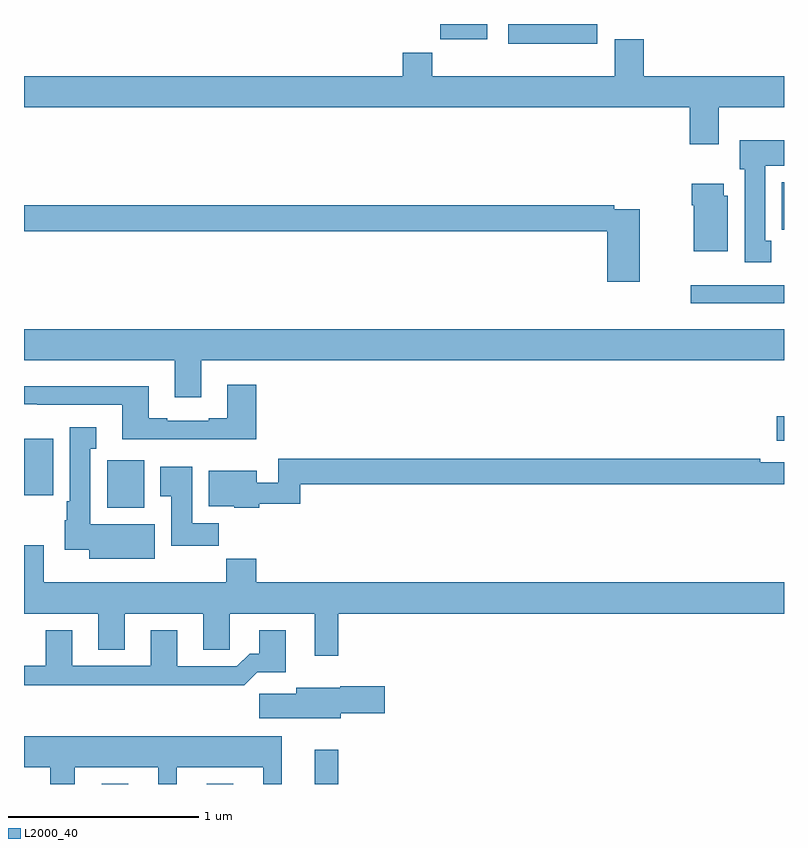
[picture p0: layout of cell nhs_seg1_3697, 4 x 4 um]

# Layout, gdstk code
import gdstk
lib = gdstk.Library(unit=1e-6, precision=1e-09)
def R(c, l, rs):  # rectangles x0, y0, x1, y1
    for r in rs: c.add(gdstk.rectangle(r[:2], r[2:], *l))
def P(c, l, *ps):  # polygons
    for p in ps: c.add(gdstk.Polygon(p, *l))
L2000_40 = (2000, 40)

nhs_seg1_3697 = lib.new_cell('nhs_seg1_3697')
R(nhs_seg1_3697, L2000_40, [(313.409,520.199,313.549,520.201), (313.961,520.199,314.101,520.201), (314.531,520.199,314.653,520.378), (313.437,521.654,313.633,521.904), (313,521.72,313.153,522.016), (316.962,522.005,317,522.135), (316.509,522.728,317,522.825), (316.989,523.116,317,523.366), (315.549,524.096,316.018,524.199), (315.19,524.118,315.439,524.199)])
P(nhs_seg1_3697, L2000_40, [(316.505,523.566),(316.657,523.566),(316.657,523.76),(317,523.76),(317,523.924),(316.262,523.924),(316.262,524.119),(316.109,524.119),(316.109,523.924),(315.149,523.924),(315.149,524.048),(314.993,524.048),(314.993,523.924),(313,523.924),(313,523.76),(316.505,523.76)],
  [(316.933,523.057),(316.9,523.057),(316.9,523.454),(317,523.454),(317,523.588),(316.766,523.588),(316.766,523.434),(316.793,523.434),(316.793,522.945),(316.933,522.945)],
  [(316.705,523.296),(316.684,523.296),(316.684,523.357),(316.514,523.357),(316.514,523.244),(316.526,523.244),(316.526,523.004),(316.705,523.004)],
  [(316.24,523.224),(316.106,523.224),(316.106,523.244),(313,523.244),(313,523.108),(316.07,523.108),(316.07,522.843),(316.24,522.843)],
  [(313.933,522.428),(317,522.428),(317,522.592),(313,522.592),(313,522.428),(313.793,522.428),(313.793,522.234),(313.933,522.234)],
  [(314.222,522.301),(314.069,522.301),(314.069,522.124),(313.973,522.124),(313.973,522.111),(313.753,522.111),(313.753,522.124),(313.657,522.124),(313.657,522.292),(313,522.292),(313,522.197),(313.069,522.197),(313.069,522.195),(313.517,522.195),(313.517,522.014),(314.222,522.014)],
  [(313.687,521.566),(313.348,521.566),(313.348,521.963),(313.381,521.963),(313.381,522.076),(313.241,522.076),(313.241,521.686),(313.226,521.686),(313.226,521.586),(313.214,521.586),(313.214,521.432),(313.343,521.432),(313.343,521.384),(313.687,521.384)],
  [(314.237,521.673),(314.453,521.673),(314.453,521.776),(317,521.776),(317,521.892),(316.874,521.892),(316.874,521.912),(314.337,521.912),(314.337,521.784),(314.224,521.784),(314.224,521.848),(313.973,521.848),(313.973,521.66),(314.106,521.66),(314.106,521.654),(314.237,521.654)],
  [(314.024,521.572),(313.885,521.572),(313.885,521.869),(313.718,521.869),(313.718,521.713),(313.775,521.713),(313.775,521.454),(314.024,521.454)],
  [(314.653,521.096),(317,521.096),(317,521.26),(314.222,521.26),(314.222,521.384),(314.065,521.384),(314.065,521.26),(313.105,521.26),(313.105,521.455),(313,521.455),(313,521.096),(313.391,521.096),(313.391,520.906),(313.531,520.906),(313.531,521.096),(313.943,521.096),(313.943,520.906),(314.082,520.906),(314.082,521.096),(314.531,521.096),(314.531,520.875),(314.653,520.875)],
  [(314.228,520.787),(314.377,520.787),(314.377,521.008),(314.237,521.008),(314.237,520.885),(314.188,520.885),(314.121,520.818),(313.807,520.818),(313.807,521.008),(313.667,521.008),(313.667,520.821),(313.255,520.821),(313.255,521.008),(313.115,521.008),(313.115,520.821),(313,520.821),(313,520.72),(313.903,520.72),(313.903,520.718),(314.159,520.718)],
  [(314.668,520.571),(314.899,520.571),(314.899,520.713),(314.664,520.713),(314.664,520.705),(314.432,520.705),(314.432,520.673),(314.238,520.673),(314.238,520.544),(314.668,520.544)],
  [(313.267,520.286),(313.706,520.286),(313.706,520.199),(313.804,520.199),(313.804,520.286),(314.258,520.286),(314.258,520.199),(314.356,520.199),(314.356,520.45),(313,520.45),(313,520.286),(313.139,520.286),(313.139,520.199),(313.267,520.199)])

lib.write_gds('nhs_seg1_3697.gds')
